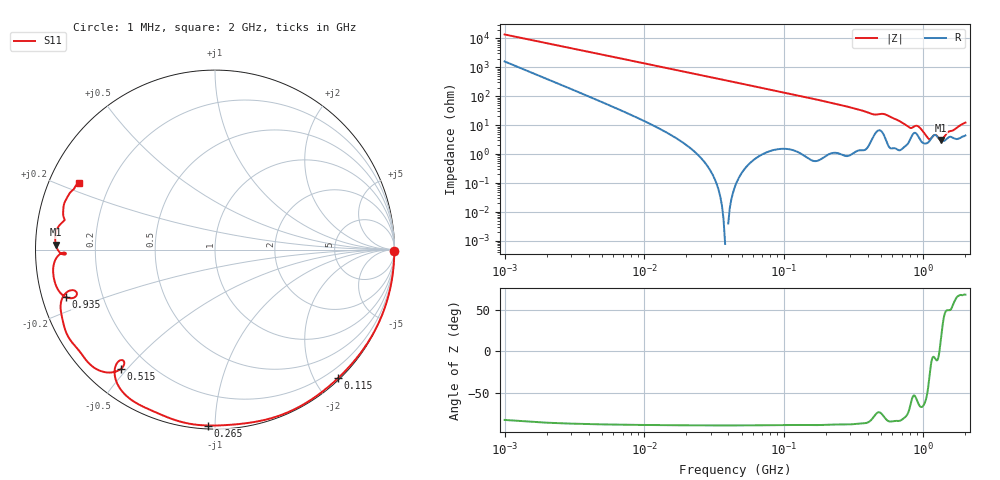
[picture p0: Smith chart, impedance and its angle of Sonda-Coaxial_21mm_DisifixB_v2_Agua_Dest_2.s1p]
! TOUCHSTONE file generated by CST MICROWAVE STUDIO
! Date and time: Tue Aug  4 15:55:25 2026
! Project name: Sonda-Coaxial_21mm_DisifixB_v2_Agua_Dest.cst
! Parameters = {h_recipiente=20; l_conector=5; r_arandela=35; r_ext=10.5; r_int=3; r_recipiente=50; z_recipiente=-10}
! Header version: 2018
! Port assignment regex: !\s*Touchstone port\s*([0-9]+)\s*=\s*(CST MWS port|CST DS port)\s*([0-9]+|Zmin|Zmax)\s*\(\"(.*)\"\)(\s*mode\s*([0-9]+))?.*
! Touchstone port assignment:
! Touchstone port 1 = CST MWS port 1 ("")
# GHz S RI R 50
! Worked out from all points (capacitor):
!   2000 points, 1 MHz to 2 GHz, reference 50 ohm
!   read as one part to ground: C = 11.6 pF near 11 MHz
!   lowest |Z| = 3.09 ohm at 1.334 GHz (marker M1)
!   series resonance near 1.303 GHz, so ESL is about 1.3 nH
!   S11 on the Smith chart (normalised r, x): 1 MHz: open; 115 MHz: 0.03, -2.34; 265 MHz: 0.02, -0.96; 515 MHz: 0.10, -0.48; 935 MHz: 0.07, -0.16; 2 GHz: 0.09, +0.23
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0.001  0.9991 -0.00728
0.052  0.9286 -0.3698
0.115  0.6862 -0.7156
0.179  0.3668 -0.922
0.251  0.0213 -0.9798
0.265  -0.0397 -0.9801
0.36  -0.388 -0.8809
0.41  -0.533 -0.768
0.433  -0.5594 -0.6904
0.459  -0.5408 -0.6259
0.501  -0.5076 -0.6425
0.515  -0.5251 -0.665
0.55  -0.6213 -0.6811
0.596  -0.7246 -0.6075
0.684  -0.8254 -0.4699
0.751  -0.857 -0.3541
0.83  -0.809 -0.2283
0.879  -0.7699 -0.2505
0.935  -0.8302 -0.2651
1.001  -0.8893 -0.1909
1.075  -0.9007 -0.0969
1.14  -0.8683 -0.0287
1.2  -0.8317 -0.0198
1.251  -0.8449 -0.0274
1.334  -0.8866 0.0274
1.501  -0.8501 0.1525
1.751  -0.8363 0.2663
2  -0.7598 0.3713
